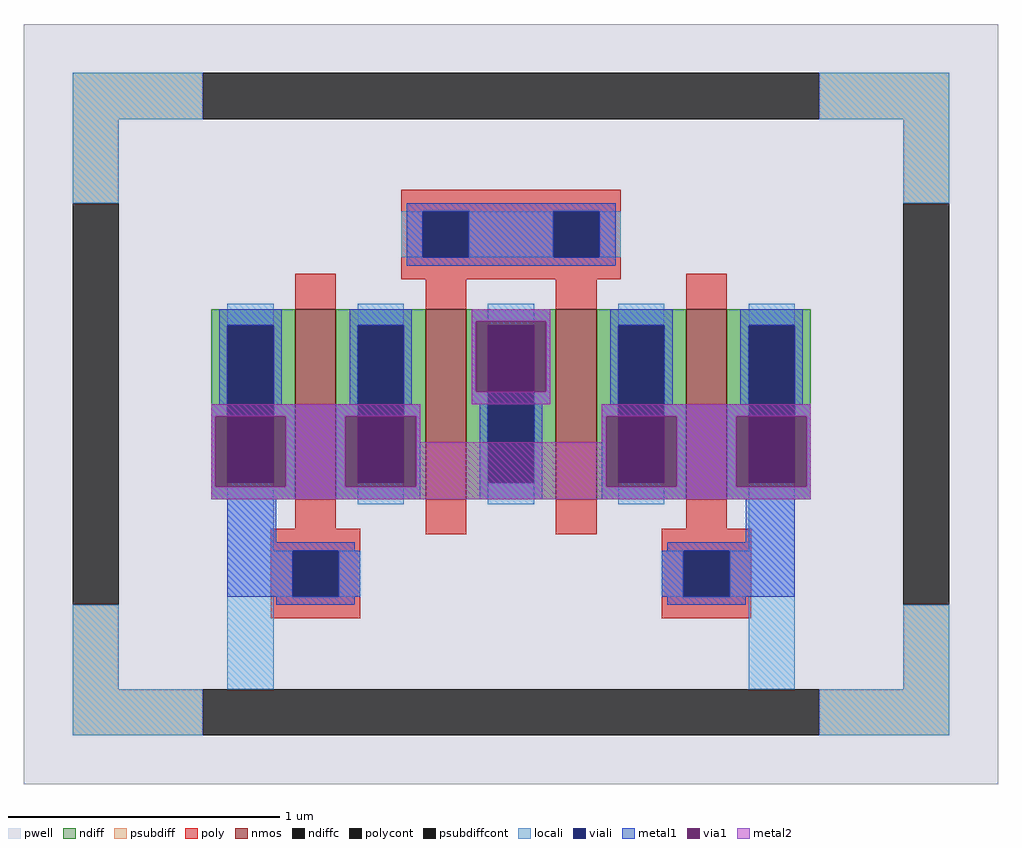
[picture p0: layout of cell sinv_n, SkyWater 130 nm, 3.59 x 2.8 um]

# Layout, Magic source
magic
tech sky130A
magscale 1 2
<< pwell >>
rect -359 -280 359 280
<< nmos >>
rect -159 -70 -129 70
rect -63 -70 -33 70
rect 33 -70 63 70
rect 129 -70 159 70
<< ndiff >>
rect -221 58 -159 70
rect -221 -58 -209 58
rect -175 -58 -159 58
rect -221 -70 -159 -58
rect -129 58 -63 70
rect -129 -58 -113 58
rect -79 -58 -63 58
rect -129 -70 -63 -58
rect -33 58 33 70
rect -33 -58 -17 58
rect 17 -58 33 58
rect -33 -70 33 -58
rect 63 58 129 70
rect 63 -58 79 58
rect 113 -58 129 58
rect 63 -70 129 -58
rect 159 58 221 70
rect 159 -58 175 58
rect 209 -58 221 58
rect 159 -70 221 -58
<< ndiffc >>
rect -209 -58 -175 58
rect -113 -58 -79 58
rect -17 -58 17 58
rect 79 -58 113 58
rect 175 -58 209 58
<< psubdiff >>
rect -323 210 -227 244
rect 227 210 323 244
rect -323 148 -289 210
rect 289 148 323 210
rect -323 -210 -289 -148
rect 289 -210 323 -148
rect -323 -244 -227 -210
rect 227 -244 323 -210
<< psubdiffcont >>
rect -227 210 227 244
rect -323 -148 -289 148
rect 289 -148 323 148
rect -227 -244 227 -210
<< poly >>
rect -81 142 81 158
rect -81 108 -65 142
rect -31 108 31 142
rect 65 108 81 142
rect -159 70 -129 96
rect -81 92 81 108
rect -63 70 -33 92
rect 33 70 63 92
rect 129 70 159 96
rect -159 -92 -129 -70
rect -177 -108 -111 -92
rect -63 -96 -33 -70
rect 33 -96 63 -70
rect 129 -92 159 -70
rect -177 -142 -161 -108
rect -127 -142 -111 -108
rect -177 -158 -111 -142
rect 111 -108 177 -92
rect 111 -142 127 -108
rect 161 -142 177 -108
rect 111 -158 177 -142
<< polycont >>
rect -65 108 -31 142
rect 31 108 65 142
rect -161 -142 -127 -108
rect 127 -142 161 -108
<< locali >>
rect -323 210 -227 244
rect 227 210 323 244
rect -323 148 -289 210
rect 289 148 323 210
rect -81 108 -65 142
rect -31 108 31 142
rect 65 108 81 142
rect -323 -210 -289 -148
rect -209 58 -175 74
rect -209 -108 -175 -58
rect -113 58 -79 74
rect -113 -74 -79 -58
rect -17 58 17 74
rect -17 -74 17 -58
rect 79 58 113 74
rect 79 -74 113 -58
rect 175 58 209 74
rect 175 -108 209 -58
rect -209 -142 -161 -108
rect -127 -142 -111 -108
rect 111 -142 127 -108
rect 161 -142 209 -108
rect -209 -210 -175 -142
rect 175 -210 209 -142
rect 289 -210 323 -148
rect -323 -244 -227 -210
rect 227 -244 323 -210
<< viali >>
rect -65 108 -31 142
rect 31 108 65 142
rect -209 -58 -175 58
rect -113 -58 -79 58
rect -17 -58 17 58
rect 79 -58 113 58
rect 175 -58 209 58
rect -161 -142 -127 -108
rect 127 -142 161 -108
<< metal1 >>
rect -77 142 77 148
rect -77 108 -65 142
rect -31 108 31 142
rect 65 108 77 142
rect -77 102 77 108
rect -215 58 -169 70
rect -215 0 -209 58
rect -221 -9 -209 0
rect -175 0 -169 58
rect -119 58 -73 70
rect -119 0 -113 58
rect -175 -9 -113 0
rect -79 0 -73 58
rect -29 61 29 70
rect -29 9 -26 61
rect 26 9 29 61
rect -29 0 -17 9
rect -79 -9 -67 0
rect -221 -61 -218 -9
rect -166 -61 -122 -9
rect -70 -61 -67 -9
rect -221 -70 -67 -61
rect -23 -58 -17 0
rect 17 0 29 9
rect 73 58 119 70
rect 73 0 79 58
rect 17 -58 23 0
rect -23 -70 23 -58
rect 67 -9 79 0
rect 113 0 119 58
rect 169 58 215 70
rect 169 0 175 58
rect 113 -9 175 0
rect 209 0 215 58
rect 209 -9 221 0
rect 67 -61 70 -9
rect 122 -61 166 -9
rect 218 -61 221 -9
rect 67 -70 221 -61
rect -209 -102 -173 -70
rect 173 -102 209 -70
rect -209 -108 -115 -102
rect 115 -108 209 -102
rect -209 -142 -161 -108
rect -127 -142 -111 -108
rect 111 -142 127 -108
rect 161 -142 209 -108
rect -173 -148 -115 -142
rect 115 -148 173 -142
<< via1 >>
rect -26 58 26 61
rect -26 9 -17 58
rect -17 9 17 58
rect 17 9 26 58
rect -218 -58 -209 -9
rect -209 -58 -175 -9
rect -175 -58 -166 -9
rect -218 -61 -166 -58
rect -122 -58 -113 -9
rect -113 -58 -79 -9
rect -79 -58 -70 -9
rect -122 -61 -70 -58
rect 70 -58 79 -9
rect 79 -58 113 -9
rect 113 -58 122 -9
rect 70 -61 122 -58
rect 166 -58 175 -9
rect 175 -58 209 -9
rect 209 -58 218 -9
rect 166 -61 218 -58
<< metal2 >>
rect -29 61 29 70
rect -29 9 -26 61
rect 26 9 29 61
rect -29 0 29 9
rect -221 -9 -67 0
rect -221 -61 -218 -9
rect -166 -61 -122 -9
rect -70 -28 -67 -9
rect 67 -9 221 0
rect 67 -28 70 -9
rect -70 -61 70 -28
rect 122 -61 166 -9
rect 218 -61 221 -9
rect -221 -70 221 -61
<< properties >>
string FIXED_BBOX -306 -227 306 227
string gencell sky130_fd_pr__nfet_01v8
string library sky130
string parameters w 0.7 l 0.150 m 1 nf 4 diffcov 100 polycov 100 guard 1 glc 1 grc 1 gtc 1 gbc 1 tbcov 100 rlcov 100 topc 1 botc 1 poverlap 0 doverlap 1 lmin 0.15 wmin 0.42 compatible {sky130_fd_pr__nfet_01v8 sky130_fd_pr__nfet_01v8_lvt  sky130_fd_bs_flash__special_sonosfet_star  sky130_fd_pr__nfet_g5v0d10v5 sky130_fd_pr__nfet_05v0_nvt  sky130_fd_pr__nfet_03v3_nvt} full_metal 1 viasrc 100 viadrn 100 viagate 100 viagb 0 viagr 0 viagl 0 viagt 0
<< end >>
